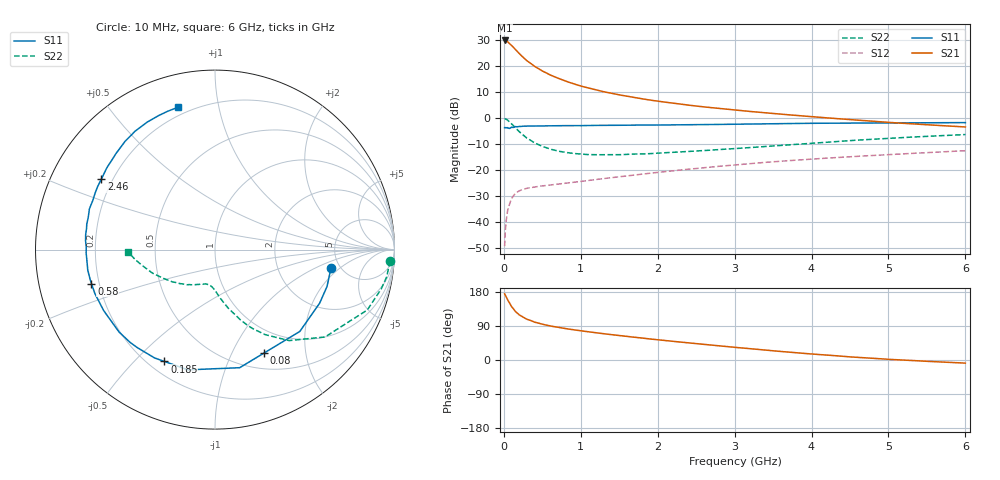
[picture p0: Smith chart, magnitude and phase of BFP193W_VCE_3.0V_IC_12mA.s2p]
! Infineon Technologies  Discrete & RF Semiconductors
! BFP193W
! VCE = 3.0 V,  IC =  12 mA
! Common Emitter S-Parameters:  Jan 2016
# GHz  S  MA  R  50
!  f  S11  S21  S12  S22
! GHz  MAG  ANG  MAG  ANG  MAG  ANG  MAG  ANG
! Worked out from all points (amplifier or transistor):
!   210 points, 10 MHz to 6 GHz, reference 50 ohm
!   highest |S21| = 29.8 dB at 10 MHz (marker M1)
!   |S21| within 3 dB of that: start of sweep to 135.4 MHz
!   unconditionally stable (mu >= 1): 1.212 GHz to 4.311 GHz
!   at 185 MHz: K = 0.24, MSG = 26.7 dB, |S12| = -28.2 dB
!   at 1.52 GHz: K = 1.09, MAG = 13.8 dB, |S12| = -22.4 dB
!   at 6 GHz: K = 0.93, MSG = 4.6 dB, |S12| = -12.5 dB
!   S11 on the Smith chart (normalised r, x): 10 MHz: 4.19, -1.53; 80 MHz: 0.69, -1.34; 185 MHz: 0.26, -0.61; 580 MHz: 0.17, -0.13; 2.46 GHz: 0.16, +0.28; 6 GHz: 0.16, +0.76
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0.01  0.6542 -9.2  30.82 174.6  0.0035 87.4  0.9777 -3.7
0.02  0.6571 -18.2  30.8 170.9  0.0072 81.9  0.9683 -9.1
0.03  0.655 -27.1  30.36 166.7  0.0105 79.4  0.9518 -13.3
0.05  0.6567 -44.0  29.13 158.2  0.0169 72.2  0.9129 -21.6
0.08  0.6379 -64.8  26.31 148.5  0.0237 61.2  0.8259 -31.1
0.1  0.6722 -78.2  24.92 140.9  0.0286 56.9  0.7827 -38.5
0.15  0.6868 -102.7  20.71 128.0  0.0361 47.0  0.6531 -50.9
0.185  0.6839 -114.3  18.22 122.1  0.039 42.9  0.5792 -56.6
0.2  0.6912 -119.2  17.23 119.1  0.0403 41.3  0.5496 -59.5
0.24  0.697 -128.5  15.15 114.1  0.0424 38.1  0.4885 -64.4
0.3  0.7047 -139.4  12.58 107.5  0.0451 35.3  0.4124 -70.4
0.4  0.7073 -151.4  9.811 99.9  0.0479 33.3  0.335 -77.2
0.58  0.7139 -164.6  6.993 90.9  0.0518 33.5  0.2611 -85.1
0.8  0.7159 -174.7  5.124 82.9  0.0567 36.3  0.22 -91.4
1.02  0.7183 178.4  4.048 76.6  0.0614 39.0  0.2032 -96.8
1.4  0.7284 168.8  2.983 66.8  0.072 43.3  0.1984 -104.1
2.02  0.7369 155.9  2.094 53.0  0.0916 47.1  0.2137 -114.6
2.46  0.7457 148.1  1.731 44.0  0.1068 47.9  0.2322 -122.3
3.1  0.7643 137.5  1.383 31.8  0.1302 47.1  0.2658 -134.1
4.1  0.7966 123.0  1.037 14.5  0.1672 43.1  0.3363 -152.6
5.1  0.8106 112.0  0.81 0.8  0.203 38.0  0.4171 -168.1
6  0.8192 104.6  0.676 -8.2  0.237 33.2  0.4834 -178.2
